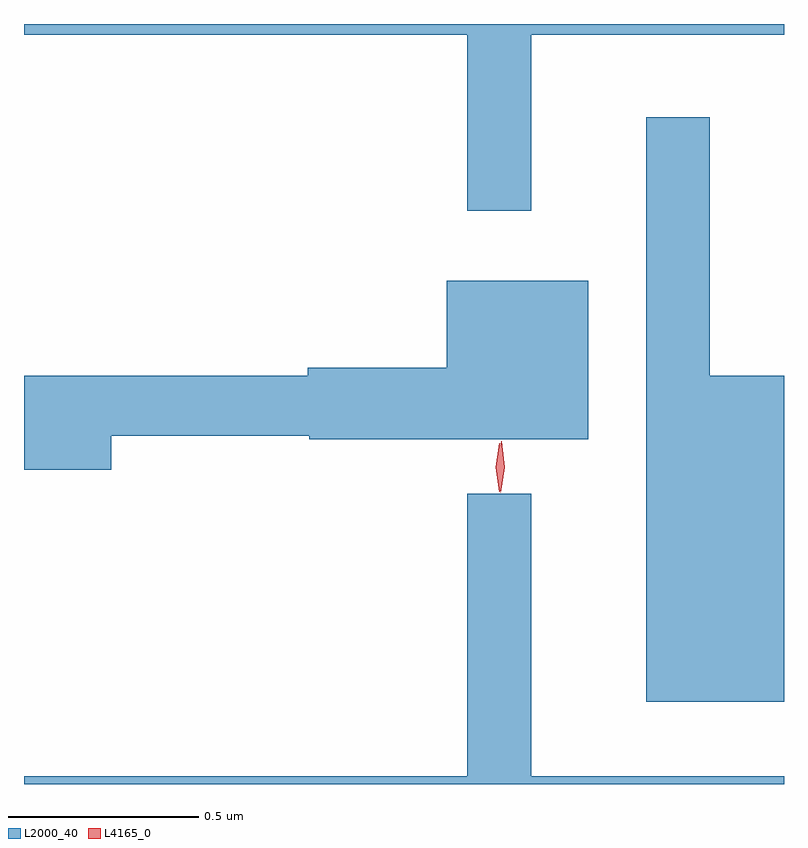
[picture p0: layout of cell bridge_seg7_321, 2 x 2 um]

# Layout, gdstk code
import gdstk
lib = gdstk.Library(unit=1e-6, precision=1e-09)
def P(c, l, *ps):  # polygons
    for p in ps: c.add(gdstk.Polygon(p, *l))
L2000_40 = (2000, 40)
L4165_0 = (4165, 0)

bridge_seg7_321 = lib.new_cell('bridge_seg7_321')
P(bridge_seg7_321, L2000_40, [(1424.679,1796.456),(1425.344,1796.456),(1425.344,1796.484),(1423.344,1796.484),(1423.344,1796.456),(1424.511,1796.456),(1424.511,1795.993),(1424.679,1795.993)],
  [(1425.344,1795.559),(1425.149,1795.559),(1425.149,1796.238),(1424.981,1796.238),(1424.981,1794.701),(1425.344,1794.701)],
  [(1423.574,1795.401),(1424.095,1795.401),(1424.095,1795.391),(1424.829,1795.391),(1424.829,1795.809),(1424.456,1795.809),(1424.456,1795.579),(1424.091,1795.579),(1424.091,1795.559),(1423.344,1795.559),(1423.344,1795.311),(1423.574,1795.311)],
  [(1425.344,1794.504),(1424.679,1794.504),(1424.679,1795.248),(1424.511,1795.248),(1424.511,1794.504),(1423.344,1794.504),(1423.344,1794.484),(1425.344,1794.484)])
P(bridge_seg7_321, L4165_0, [(1424.598,1795.25),(1424.598,1795.25),(1424.59,1795.318),(1424.6,1795.386),(1424.601,1795.386),(1424.601,1795.386),(1424.609,1795.318),(1424.599,1795.25)],
  [(1424.595,1795.253),(1424.586,1795.317),(1424.595,1795.381),(1424.596,1795.381),(1424.596,1795.381),(1424.606,1795.317),(1424.596,1795.253),(1424.596,1795.253)])

lib.write_gds('bridge_seg7_321.gds')
